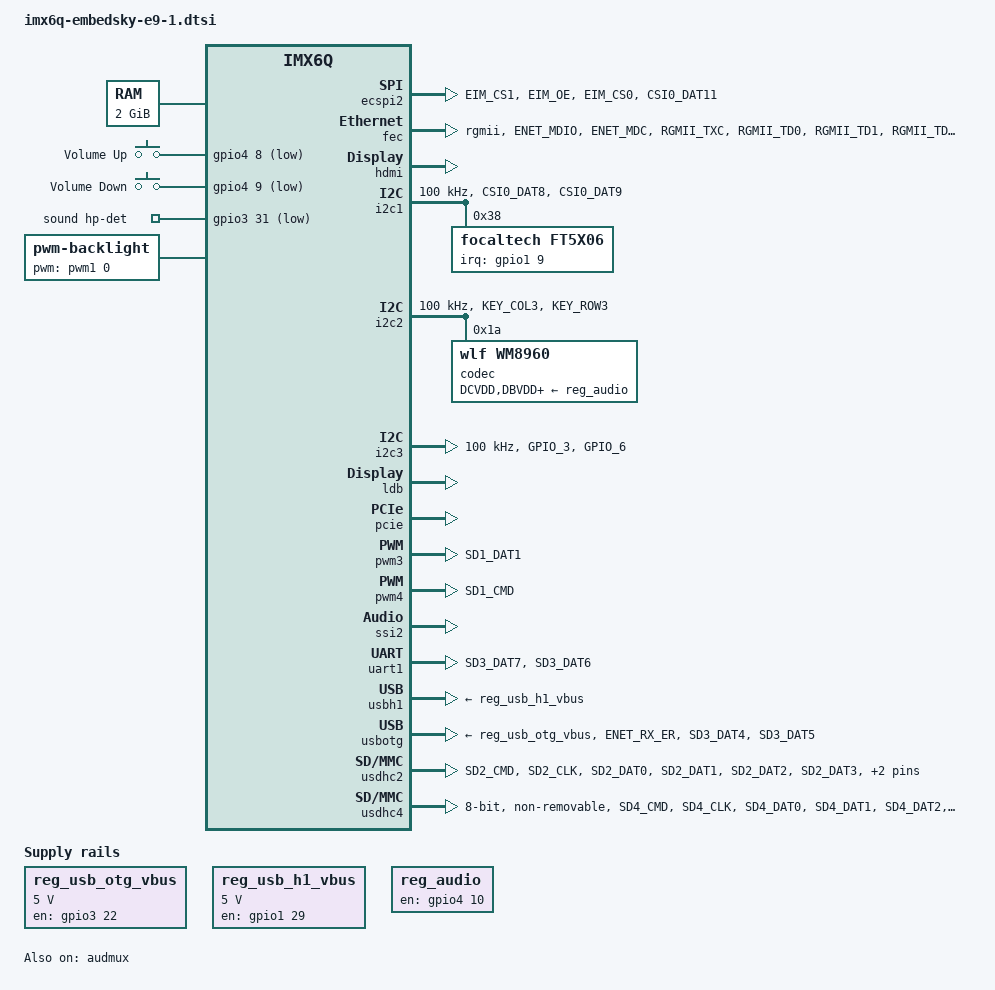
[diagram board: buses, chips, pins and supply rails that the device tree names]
/*
 * Copyright 2012 Freescale Semiconductor, Inc.
 * Copyright 2011 Linaro Ltd.
 *
 * The code contained herein is licensed under the GNU General Public
 * License. You may obtain a copy of the GNU General Public License
 * Version 2 or later at the following locations:
 *
 * http://www.opensource.org/licenses/gpl-license.html
 * http://www.gnu.org/copyleft/gpl.html
 */

#include <dt-bindings/gpio/gpio.h>
#include <dt-bindings/input/input.h>

/ {
  chosen {
    stdout-path = &uart1;
  };

  memory {
    reg = <0x10000000 0x80000000>;
  };

  regulators {
    compatible = "simple-bus";
    #address-cells = <1>;
    #size-cells = <0>;

    reg_usb_otg_vbus: regulator@0 {
      compatible = "regulator-fixed";
      reg = <0>;
      regulator-name = "usb_otg_vbus";
      regulator-min-microvolt = <5000000>;
      regulator-max-microvolt = <5000000>;
      gpio = <&gpio3 22 0>;
      enable-active-high;
    };

    reg_usb_h1_vbus: regulator@1 {
      compatible = "regulator-fixed";
      reg = <1>;
      regulator-name = "usb_h1_vbus";
      regulator-min-microvolt = <5000000>;
      regulator-max-microvolt = <5000000>;
      gpio = <&gpio1 29 0>;
      enable-active-high;
    };

    reg_audio: regulator@2 {
      compatible = "regulator-fixed";
      reg = <2>;
      regulator-name = "wm8960-supply";
      gpio = <&gpio4 10 GPIO_ACTIVE_HIGH>;
      enable-active-high;
    };
  };

  gpio-keys {
    compatible = "gpio-keys";
    pinctrl-names = "default";
    pinctrl-0 = <&pinctrl_gpio_keys>;
    /*
    power {
      label = "Power Button";
      gpios = <&gpio4 5 GPIO_ACTIVE_LOW>;
      gpio-key,wakeup;
      linux,code = <KEY_POWER>;
    };*/

    volume-up {
      label = "Volume Up";
      gpios = <&gpio4 8 GPIO_ACTIVE_LOW>;
      gpio-key,wakeup;
      linux,code = <KEY_VOLUMEUP>;
    };

    volume-down {
      label = "Volume Down";
      gpios = <&gpio4 9 GPIO_ACTIVE_LOW>;
      gpio-key,wakeup;
      linux,code = <KEY_VOLUMEDOWN>;
    };
  };

  sound {
    compatible = "fsl,imx6q-sabresd-wm8962",
         "fsl,imx-audio-wm8962";
    model = "wm8962-audio";
    ssi-controller = <&ssi2>;
    audio-codec = <&codec>;
    audio-routing =
      "Headphone Jack", "HP_L",
      "Headphone Jack", "HP_R",
      "Ext Spk", "SPK_LP",
      "Ext Spk", "SPK_RP",
      "LINPUT1", "MICB",
      "MICB", "AMIC";
    mux-int-port = <2>;
    mux-ext-port = <3>;
    hp-det-gpios = <&gpio3 31 GPIO_ACTIVE_LOW>;
  };

  backlight {
    compatible = "pwm-backlight";
    pwms = <&pwm1 0 5000000>;
    brightness-levels = <0 4 8 16 32 64 128 255>;
    default-brightness-level = <7>;
    status = "okay";
  };
};

&audmux {
  pinctrl-names = "default";
  pinctrl-0 = <&pinctrl_audmux>;
  status = "okay";
};

&ecspi2 {
  fsl,spi-num-chipselects = <1>;
  cs-gpios = <&gpio5 29 0>;
  pinctrl-names = "default";
  pinctrl-0 = <&pinctrl_ecspi2>;
  status = "okay";
};

&fec {
  pinctrl-names = "default";
  pinctrl-0 = <&pinctrl_enet>;
  phy-mode = "rgmii";
  phy-reset-gpios = <&gpio1 26 GPIO_ACTIVE_HIGH>;
  status = "okay";
};

&hdmi {
  ddc-i2c-bus = <&i2c2>;
  status = "okay";
};

&i2c1 {
  clock-frequency = <100000>;
  pinctrl-names = "default";
  pinctrl-0 = <&pinctrl_i2c1>;
  status = "okay";

  ft5x06: ft5x06_ts@38 {
    compatible = "focaltech,ft5x06";
    reg = <0x38>;
    interrupt-parent = <&gpio1>;
    interrupts = <9 2>;

    cfg-regs {
      id-g-thgroup = <0x46>;
      id-g-thpeak = <0xff>;
      id-g-thcal = <0xff>;
      id-g-thwater = <0x3c>;
      id-g-thtemp = <0x0a>;
      id-g-thdiff = <0x14>;
      id-g-ctrl = <0x0>;
      id-g-timeentermonitor = <0x2>;
      id-g-periodactive = <0x0c>;
      id-g-periodmonitor = <0x28>;
    };
  };
};

&i2c2 {
  clock-frequency = <100000>;
  pinctrl-names = "default";
  pinctrl-0 = <&pinctrl_i2c2>;
  status = "okay";

  codec: wm8960@1a {
    compatible = "wlf,wm8960";
    reg = <0x1a>;
    clocks = <&clks 201>;
    DCVDD-supply = <&reg_audio>;
    DBVDD-supply = <&reg_audio>;
    AVDD-supply = <&reg_audio>;
    SPKVDD1-supply = <&reg_audio>;
    SPKVDD2-supply = <&reg_audio>;
    shared_lrclk;
    /* capless; */
       };
};

&i2c3 {
  clock-frequency = <100000>;
  pinctrl-names = "default";
  pinctrl-0 = <&pinctrl_i2c3>;
  status = "okay";
};

&iomuxc {
  pinctrl-names = "default";
  pinctrl-0 = <&pinctrl_hog>;

  imx6qdl-embedsky-e9 {
    pinctrl_hog: hoggrp {
      fsl,pins = <
        MX6QDL_PAD_NANDF_D0__GPIO2_IO00 0x80000000
        MX6QDL_PAD_NANDF_D1__GPIO2_IO01 0x80000000
        MX6QDL_PAD_NANDF_D2__GPIO2_IO02 0x80000000
        MX6QDL_PAD_NANDF_D3__GPIO2_IO03 0x80000000
        MX6QDL_PAD_NANDF_ALE__GPIO6_IO08 0x80000000
        MX6QDL_PAD_NANDF_CLE__GPIO6_IO07 0x80000000
        MX6QDL_PAD_ENET_TXD1__GPIO1_IO29 0x80000000 /* Touch IRQ */
        /*MX6QDL_PAD_EIM_D22__GPIO3_IO22  0x80000000*/
      >;
    };

    pinctrl_audmux: audmuxgrp {
      fsl,pins = <
        MX6QDL_PAD_CSI0_DAT7__AUD3_RXD    0x130b0
        MX6QDL_PAD_CSI0_DAT4__AUD3_TXC    0x130b0
        MX6QDL_PAD_CSI0_DAT5__AUD3_TXD    0x110b0
        MX6QDL_PAD_CSI0_DAT6__AUD3_TXFS   0x130b0
        MX6QDL_PAD_GPIO_0__CCM_CLKO1      0x130b0 /* WM8960 MCLK */
      >;
    };

    pinctrl_ecspi2: ecspi2grp {
      fsl,pins = <
        MX6QDL_PAD_EIM_CS1__ECSPI2_MOSI   0x100b1
        MX6QDL_PAD_EIM_OE__ECSPI2_MISO    0x100b1
        MX6QDL_PAD_EIM_CS0__ECSPI2_SCLK   0x100b1
        MX6QDL_PAD_CSI0_DAT11__ECSPI2_SS0 0x000b1 /* CS */
      >;
    };

    pinctrl_enet: enetgrp {
      fsl,pins = <
        MX6QDL_PAD_ENET_MDIO__ENET_MDIO   0x1b0b0
        MX6QDL_PAD_ENET_MDC__ENET_MDC     0x1b0b0
        MX6QDL_PAD_RGMII_TXC__RGMII_TXC   0x1b0b0
        MX6QDL_PAD_RGMII_TD0__RGMII_TD0   0x1b0b0
        MX6QDL_PAD_RGMII_TD1__RGMII_TD1   0x1b0b0
        MX6QDL_PAD_RGMII_TD2__RGMII_TD2   0x1b0b0
        MX6QDL_PAD_RGMII_TD3__RGMII_TD3   0x1b0b0
        MX6QDL_PAD_RGMII_TX_CTL__RGMII_TX_CTL 0x1b0b0
        MX6QDL_PAD_ENET_REF_CLK__ENET_TX_CLK  0x1b0b0
        MX6QDL_PAD_RGMII_RXC__RGMII_RXC   0x1b0b0
        MX6QDL_PAD_RGMII_RD0__RGMII_RD0   0x1b0b0
        MX6QDL_PAD_RGMII_RD1__RGMII_RD1   0x1b0b0
        MX6QDL_PAD_RGMII_RD2__RGMII_RD2   0x1b0b0
        MX6QDL_PAD_RGMII_RD3__RGMII_RD3   0x1b0b0
        MX6QDL_PAD_RGMII_RX_CTL__RGMII_RX_CTL 0x1b0b0
        MX6QDL_PAD_ENET_RXD1__GPIO1_IO26  0x80000000  /* MDINT */
      >;
    };

    pinctrl_gpio_keys: gpio_keysgrp {
      fsl,pins = <
        MX6QDL_PAD_KEY_ROW1__GPIO4_IO09 0x80000000  /* Volume Down */
        MX6QDL_PAD_KEY_COL1__GPIO4_IO08 0x80000000  /* Volume Up */
      >;
    };

    pinctrl_i2c1: i2c1grp {
      fsl,pins = <
        MX6QDL_PAD_CSI0_DAT8__I2C1_SDA    0x4001b8b1
        MX6QDL_PAD_CSI0_DAT9__I2C1_SCL    0x4001b8b1
      >;
    };

    pinctrl_i2c2: i2c2grp {
      fsl,pins = <
        MX6QDL_PAD_KEY_COL3__I2C2_SCL   0x4001b8b1
        MX6QDL_PAD_KEY_ROW3__I2C2_SDA   0x4001b8b1
      >;
    };

    pinctrl_i2c3: i2c3grp {
      fsl,pins = <
        MX6QDL_PAD_GPIO_3__I2C3_SCL   0x4001b8b1
        MX6QDL_PAD_GPIO_6__I2C3_SDA   0x4001b8b1
      >;
    };

    pinctrl_pwm3: pwm3grp {
      fsl,pins = <
        MX6QDL_PAD_SD1_DAT1__PWM3_OUT 0x1b0b1
      >;
    };

    pinctrl_pwm4: pwm4grp {
      fsl,pins = <
        MX6QDL_PAD_SD1_CMD__PWM4_OUT 0x1b0b1
      >;
    };

    pinctrl_uart1: uart1grp {
      fsl,pins = <
        MX6QDL_PAD_SD3_DAT7__UART1_TX_DATA 0x1b0b1
        MX6QDL_PAD_SD3_DAT6__UART1_RX_DATA 0x1b0b1
      >;
    };

    pinctrl_uart2: uart2grp {
      fsl,pins = <
        MX6QDL_PAD_EIM_D27__UART2_RX_DATA  0x1b0b1
        MX6QDL_PAD_EIM_D26__UART2_TX_DATA  0x1b0b1
        MX6QDL_PAD_EIM_D29__UART2_RTS_B    0x1b0b1
        MX6QDL_PAD_EIM_D28__UART2_CTS_B    0x1b0b1
      >;
    };

    pinctrl_uart3: uart3grp {
      fsl,pins = <
        MX6QDL_PAD_EIM_D24__UART3_TX_DATA  0x1b0b1
        MX6QDL_PAD_EIM_D25__UART3_RX_DATA  0x1b0b1
      >;
    };

    pinctrl_uart4: uart4grp {
      fsl,pins = <
        MX6QDL_PAD_KEY_COL0__UART4_TX_DATA 0x1b0b1
        MX6QDL_PAD_KEY_ROW0__UART4_RX_DATA 0x1b0b1
      >;
    };

    pinctrl_usbotg: usbotggrp {
      fsl,pins = <
        MX6QDL_PAD_ENET_RX_ER__USB_OTG_ID 0x17059 /* USB ID */
        MX6QDL_PAD_SD3_DAT4__GPIO7_IO01   0x80000000  /* USB OTG DRV */
        MX6QDL_PAD_SD3_DAT5__GPIO7_IO00   0x80000000  /* USB OTG VBus Detect */
      >;
    };

    pinctrl_usdhc2: usdhc2grp {
      fsl,pins = <
        MX6QDL_PAD_SD2_CMD__SD2_CMD       0x17059
        MX6QDL_PAD_SD2_CLK__SD2_CLK       0x10059
        MX6QDL_PAD_SD2_DAT0__SD2_DATA0    0x17059
        MX6QDL_PAD_SD2_DAT1__SD2_DATA1    0x17059
        MX6QDL_PAD_SD2_DAT2__SD2_DATA2    0x17059
        MX6QDL_PAD_SD2_DAT3__SD2_DATA3    0x17059
        MX6QDL_PAD_GPIO_4__GPIO1_IO04     0x1b0b0  /* uSDHC2 Card Detect */
      >;
    };

    pinctrl_usdhc4: usdhc4grp {
      fsl,pins = <
        MX6QDL_PAD_SD4_CMD__SD4_CMD       0x17059
        MX6QDL_PAD_SD4_CLK__SD4_CLK       0x10059
        MX6QDL_PAD_SD4_DAT0__SD4_DATA0    0x17059
        MX6QDL_PAD_SD4_DAT1__SD4_DATA1    0x17059
        MX6QDL_PAD_SD4_DAT2__SD4_DATA2    0x17059
        MX6QDL_PAD_SD4_DAT3__SD4_DATA3    0x17059
        MX6QDL_PAD_SD4_DAT4__SD4_DATA4    0x17059
        MX6QDL_PAD_SD4_DAT5__SD4_DATA5    0x17059
        MX6QDL_PAD_SD4_DAT6__SD4_DATA6    0x17059
        MX6QDL_PAD_SD4_DAT7__SD4_DATA7    0x17059
      >;
    };
  };
  /*
  gpio_leds {
    pinctrl_gpio_leds: gpioledsgrp {
    status = "okay";
    };
  };*/
};

&ldb {
  status = "okay";

  lvds-channel@1 {
    fsl,data-mapping = "spwg";
    fsl,data-width = <18>;
    status = "okay";

    display-timings {
      native-mode = <&timing0>;
      timing0: hsd100pxn1 {
        clock-frequency = <65000000>;
        hactive = <1024>;
        vactive = <768>;
        hback-porch = <220>;
        hfront-porch = <40>;
        vback-porch = <21>;
        vfront-porch = <7>;
        hsync-len = <60>;
        vsync-len = <10>;
      };
    };
  };
};

&pcie {
  status = "okay";
};

&pwm3 {
  pinctrl-names = "default";
  pinctrl-0 = <&pinctrl_pwm3>;
  status = "okay";
};

&pwm4 {
  pinctrl-names = "default";
  pinctrl-0 = <&pinctrl_pwm4>;
  status = "okay";
};

&ssi2 {
  fsl,mode = "i2s-slave";
  status = "okay";
};

&uart1 {
  pinctrl-names = "default";
  pinctrl-0 = <&pinctrl_uart1>;
  status = "okay";
};

&usbh1 {
  vbus-supply = <&reg_usb_h1_vbus>;
  status = "okay";
};

&usbotg {
  vbus-supply = <&reg_usb_otg_vbus>;
  pinctrl-names = "default";
  pinctrl-0 = <&pinctrl_usbotg>;
  disable-over-current;
  status = "okay";
};

&usdhc2 {
  pinctrl-names = "default";
  pinctrl-0 = <&pinctrl_usdhc2>;
  cd-gpios = <&gpio1 4 0>;
  no-1-8-v;
  keep-power-in-suspend;
  enable-sdio-wakeup;
  status = "okay";
};

&usdhc4 {
  pinctrl-names = "default";
  pinctrl-0 = <&pinctrl_usdhc4>;
  bus-width = <8>;
  non-removable;
  no-1-8-v;
  keep-power-in-suspend;
  status = "okay";
};
